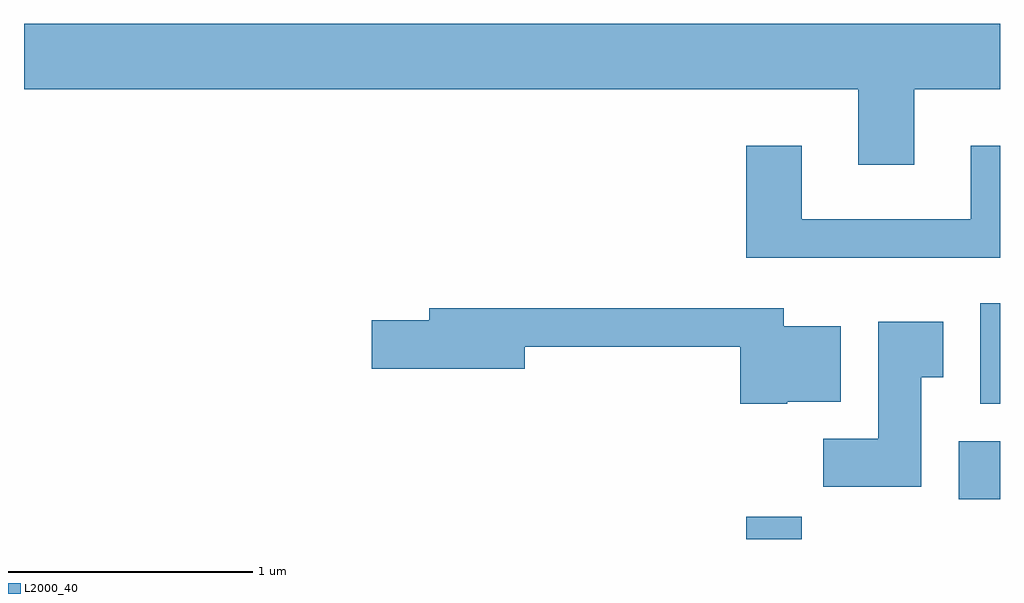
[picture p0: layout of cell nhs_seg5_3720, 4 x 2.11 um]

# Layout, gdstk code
import gdstk
lib = gdstk.Library(unit=1e-6, precision=1e-09)
def R(c, l, rs):  # rectangles x0, y0, x1, y1
    for r in rs: c.add(gdstk.rectangle(r[:2], r[2:], *l))
def P(c, l, *ps):  # polygons
    for p in ps: c.add(gdstk.Polygon(p, *l))
L2000_40 = (2000, 40)

nhs_seg5_3720 = lib.new_cell('nhs_seg5_3720')
R(nhs_seg5_3720, L2000_40, [(298.571,1446.072,298.799,1446.164), (299.441,1446.236,299.611,1446.474), (299.531,1446.626,299.611,1447.039)])
P(nhs_seg5_3720, L2000_40, [(299.259,1447.916),(299.611,1447.916),(299.611,1448.184),(295.611,1448.184),(295.611,1447.916),(299.031,1447.916),(299.031,1447.606),(299.259,1447.606)],
  [(299.611,1447.684),(299.491,1447.684),(299.491,1447.384),(298.799,1447.384),(298.799,1447.684),(298.571,1447.684),(298.571,1447.226),(299.611,1447.226)],
  [(298.74,1446.636),(298.959,1446.636),(298.959,1446.944),(298.724,1446.944),(298.724,1447.019),(297.271,1447.019),(297.271,1446.969),(297.036,1446.969),(297.036,1446.771),(297.664,1446.771),(297.664,1446.861),(298.546,1446.861),(298.546,1446.626),(298.74,1446.626)],
  [(299.289,1446.736),(299.379,1446.736),(299.379,1446.964),(299.111,1446.964),(299.111,1446.484),(298.886,1446.484),(298.886,1446.286),(299.289,1446.286)])

lib.write_gds('nhs_seg5_3720.gds')
